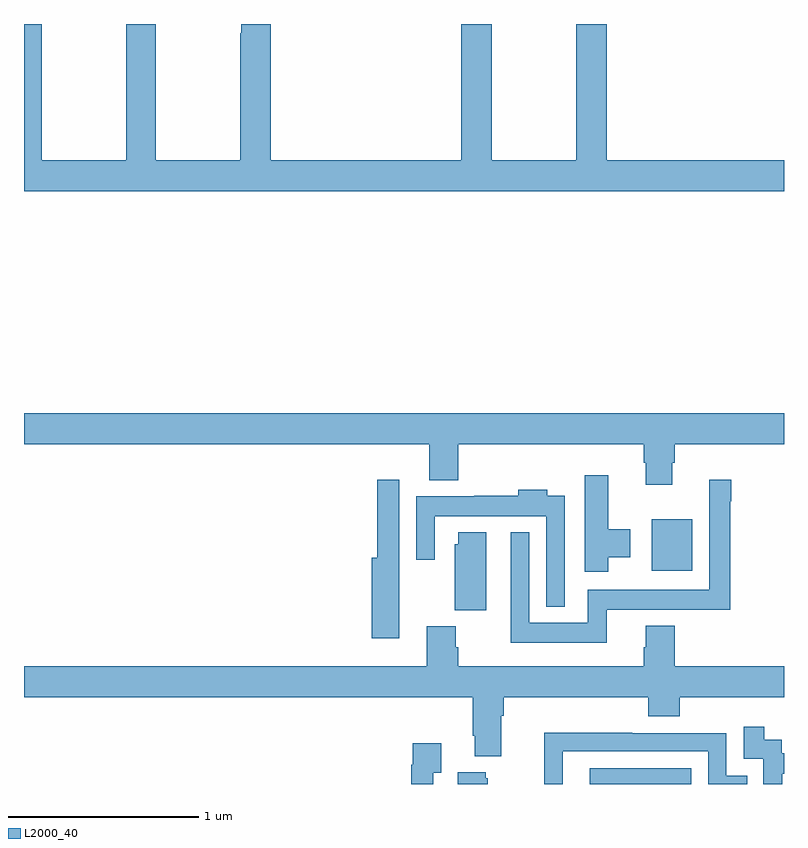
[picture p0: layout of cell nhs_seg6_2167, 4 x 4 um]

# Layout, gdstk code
import gdstk
lib = gdstk.Library(unit=1e-6, precision=1e-09)
def R(c, l, rs):  # rectangles x0, y0, x1, y1
    for r in rs: c.add(gdstk.rectangle(r[:2], r[2:], *l))
def P(c, l, *ps):  # polygons
    for p in ps: c.add(gdstk.Polygon(p, *l))
L2000_40 = (2000, 40)

nhs_seg6_2167 = lib.new_cell('nhs_seg6_2167')
R(nhs_seg6_2167, L2000_40, [(241.977,993.5,242.511,993.582), (242.303,994.622,242.518,994.894)])
P(nhs_seg6_2167, L2000_40, [(243,996.784),(242.066,996.784),(242.066,997.5),(241.906,997.5),(241.906,996.784),(241.461,996.784),(241.461,997.5),(241.301,997.5),(241.301,996.784),(240.299,996.784),(240.299,997.5),(240.143,997.5),(240.143,997.451),(240.139,997.451),(240.139,996.784),(239.694,996.784),(239.694,997.5),(239.539,997.5),(239.539,996.784),(239.094,996.784),(239.094,997.5),(239,997.5),(239,996.62),(243,996.62)],
  [(242.413,995.19),(242.426,995.19),(242.426,995.288),(243,995.288),(243,995.452),(239,995.452),(239,995.288),(241.133,995.288),(241.133,995.099),(241.286,995.099),(241.286,995.288),(242.261,995.288),(242.261,995.19),(242.273,995.19),(242.273,995.076),(242.413,995.076)],
  [(242.074,994.694),(242.191,994.694),(242.191,994.842),(242.074,994.842),(242.074,995.125),(241.952,995.125),(241.952,994.617),(242.074,994.617)],
  [(242.066,994.418),(242.716,994.418),(242.716,994.988),(242.723,994.988),(242.723,995.101),(242.607,995.101),(242.607,994.522),(241.968,994.522),(241.968,994.348),(241.659,994.348),(241.659,994.825),(241.562,994.825),(241.562,994.244),(242.066,994.244)],
  [(240.976,994.586),(240.975,994.586),(240.975,995.101),(240.859,995.101),(240.859,994.69),(240.83,994.69),(240.83,994.266),(240.976,994.266)],
  [(241.845,995.017),(241.753,995.017),(241.753,995.05),(241.601,995.05),(241.601,995.017),(241.369,995.017),(241.369,995.014),(241.065,995.014),(241.065,994.68),(241.161,994.68),(241.161,994.91),(241.749,994.91),(241.749,994.433),(241.845,994.433)],
  [(241.432,994.825),(241.286,994.825),(241.286,994.761),(241.268,994.761),(241.268,994.414),(241.432,994.414)],
  [(241.513,993.86),(241.526,993.86),(241.526,993.956),(242.285,993.956),(242.285,993.857),(242.45,993.857),(242.45,993.956),(243,993.956),(243,994.12),(242.426,994.12),(242.426,994.333),(242.273,994.333),(242.273,994.221),(242.261,994.221),(242.261,994.12),(241.286,994.12),(241.286,994.22),(241.273,994.22),(241.273,994.329),(241.121,994.329),(241.121,994.12),(239,994.12),(239,993.956),(241.361,993.956),(241.361,993.754),(241.373,993.754),(241.373,993.647),(241.513,993.647)],
  [(242.99,993.555),(243,993.555),(243,993.663),(242.988,993.663),(242.988,993.732),(242.896,993.732),(242.896,993.802),(242.787,993.802),(242.787,993.633),(242.892,993.633),(242.892,993.5),(242.99,993.5)],
  [(241.836,993.672),(242.601,993.672),(242.601,993.5),(242.807,993.5),(242.807,993.543),(242.697,993.543),(242.697,993.768),(242.201,993.768),(242.201,993.77),(241.738,993.77),(241.738,993.5),(241.836,993.5)],
  [(241.155,993.559),(241.195,993.559),(241.195,993.715),(241.047,993.715),(241.047,993.602),(241.039,993.602),(241.039,993.5),(241.155,993.5)],
  [(241.441,993.531),(241.43,993.531),(241.43,993.562),(241.283,993.562),(241.283,993.5),(241.441,993.5)])

lib.write_gds('nhs_seg6_2167.gds')
